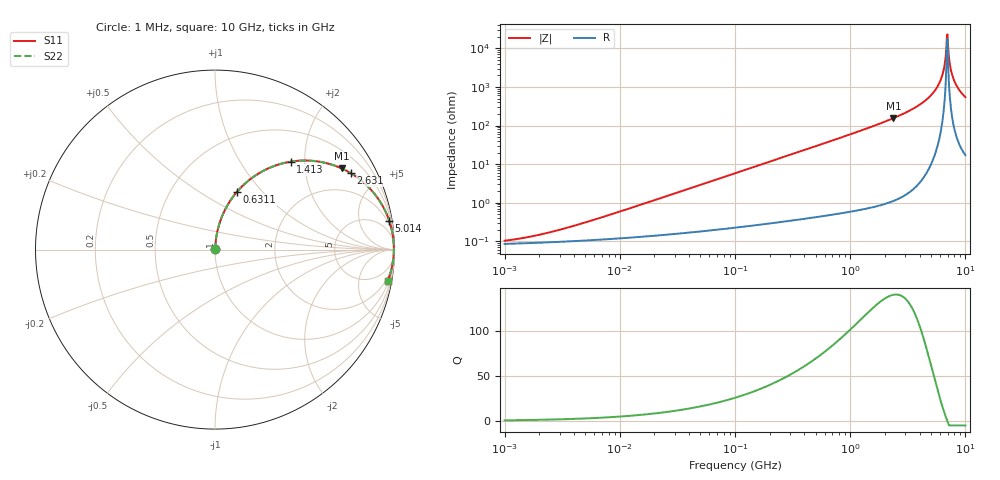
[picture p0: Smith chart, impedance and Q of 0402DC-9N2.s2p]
# MHz  S  MA  R  50
!Freq  MagS11  AngS11  MagS21  AngS21  MagS12  AngS12  MagS22  AngS22
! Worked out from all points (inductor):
!   801 points, 1 MHz to 10 GHz, reference 50 ohm
!   read as one part in series: L = 9.2 nH near 5.559 MHz
!   highest Q = 140 at 2.372 GHz (marker M1), where L = 10.4 nH
!   self-resonance near 6.921 GHz
!   S11 on the Smith chart (normalised r, x): 1 MHz: 1.00, +0.00; 631.1 MHz: 1.01, +0.74; 1.413 GHz: 1.01, +1.70; 2.631 GHz: 1.03, +3.55; 5.014 GHz: 1, +12; 10 GHz: 1, -11
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1  0.001031 34.0  0.9991 -0.0  0.9991 -0.0  0.001031 34.0
4.67769  0.002892 68.9  0.999 -0.2  0.999 -0.2  0.002892 68.9
21.6303  0.01257 82.8  0.9985 -0.7  0.9985 -0.7  0.01257 82.8
100.0216  0.05765 84.5  0.9961 -3.3  0.9961 -3.3  0.05765 84.5
467.8699  0.2612 74.0  0.9614 -15.1  0.9614 -15.1  0.2612 74.0
631.148  0.3439 69.2  0.9347 -20.1  0.9347 -20.1  0.3439 69.2
1413.018  0.6458 49.3  0.7581 -40.2  0.7581 -40.2  0.6458 49.3
2163.497  0.8078 35.7  0.5836 -53.9  0.5836 -53.9  0.8078 35.7
2372.237  0.8378 32.7  0.54 -56.9  0.54 -56.9  0.8378 32.7
2631.239  0.8685 29.3  0.4895 -60.3  0.4895 -60.3  0.8685 29.3
3847.406  0.9521 17.3  0.2974 -72.2  0.2974 -72.2  0.9521 17.3
5013.874  0.9839 9.4  0.1635 -79.7  0.1635 -79.7  0.9839 9.4
5625.689  0.9916 6.1  0.1059 -82.4  0.1059 -82.4  0.9916 6.1
6097.859  0.9949 3.8  0.06582 -83.7  0.06582 -83.7  0.9949 3.8
6459.197  0.9962 2.1  0.03731 -83.1  0.03731 -83.1  0.9962 2.1
6763.624  0.9966 0.8  0.01473 -76.4  0.01473 -76.4  0.9966 0.8
7001.324  0.9966 -0.2  0.004356 38.9  0.004356 38.9  0.9966 -0.2
7247.377  0.9963 -1.1  0.02016 78.8  0.02016 78.8  0.9963 -1.1
7588.952  0.9953 -2.4  0.04281 82.5  0.04281 82.5  0.9953 -2.4
8038.648  0.9934 -4.1  0.07129 82.7  0.07129 82.7  0.9934 -4.1
8916.309  0.9877 -7.0  0.1227 80.8  0.1227 80.8  0.9877 -7.0
10000  0.978 -10.4  0.1799 77.8  0.1799 77.8  0.978 -10.4
